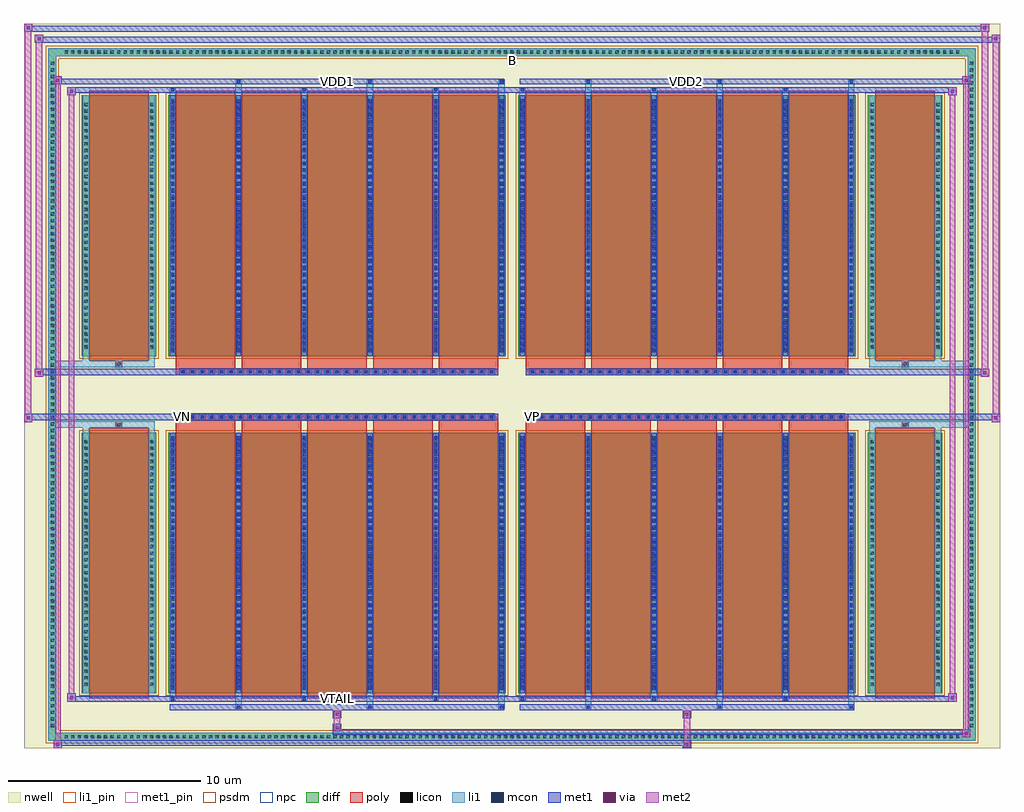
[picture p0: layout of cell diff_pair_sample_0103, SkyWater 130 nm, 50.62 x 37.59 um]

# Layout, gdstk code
import gdstk
lib = gdstk.Library(unit=1e-6, precision=5e-09)
def R(c, l, rs):  # rectangles x0, y0, x1, y1
    for r in rs: c.add(gdstk.rectangle(r[:2], r[2:], *l))
def A(c, l, x, y, w, h, nx, ny, dx, dy):  # array of equal rectangles
    R(c, l, [(x+i*dx, y+j*dy, x+i*dx+w, y+j*dy+h) for i in range(nx) for j in range(ny)])
def P(c, l, *ps):  # polygons
    for p in ps: c.add(gdstk.Polygon(p, *l))
nwell = (64, 20)
diff = (65, 20)
poly = (66, 20)
licon = (66, 44)
li1_pin = (67, 16)
li1 = (67, 20)
mcon = (67, 44)
met1_pin = (68, 16)
met1 = (68, 20)
via = (68, 44)
met2 = (69, 20)
psdm = (94, 20)
npc = (95, 20)

diff_pair_sample_0103 = lib.new_cell('diff_pair_sample_0103')
R(diff_pair_sample_0103, nwell, [(-25.31,-18.36,25.31,19.23), (-22.63,-16.55,-0.01,-0.805), (0.01,-16.55,22.63,-0.805), (-22.63,0.805,-0.01,16.55), (0.01,0.805,22.63,16.55)])
A(diff_pair_sample_0103, diff, -23.325, -17.96, 0.41, 0.41, 137, 2, 0.34, 35.51)
A(diff_pair_sample_0103, diff, -24.04, -17.375, 0.41, 0.41, 1, 102, 0, 0.34)
A(diff_pair_sample_0103, diff, 23.63, -17.375, 0.41, 0.41, 1, 102, 0, 0.34)
R(diff_pair_sample_0103, diff, [(-23.325,-17.96,23.325,-17.55), (-24.04,-17.375,-23.63,17.375), (23.63,-17.375,24.04,17.375), (-22.32,-15.505,-18.46,-1.985), (-17.82,-15.505,-0.32,-1.985), (0.32,-15.505,17.82,-1.985), (18.46,-15.505,22.32,-1.985), (-22.32,1.985,-18.46,15.505), (-17.82,1.985,-0.32,15.505), (0.32,1.985,17.82,15.505), (18.46,1.985,22.32,15.505), (-23.325,17.55,23.325,17.96)])
P(diff_pair_sample_0103, diff, [(24.04,17.96),(-24.04,17.96),(-24.04,-17.55),(-23.63,-17.55),(-23.63,17.55),(23.63,17.55),(23.63,-17.55),(-23.63,-17.55),(-24.04,-17.55),(-24.04,-17.96),(24.04,-17.96)])
A(diff_pair_sample_0103, poly, -17.43, -15.755, 3.08, 14.02, 5, 2, 3.41, 17.49)
A(diff_pair_sample_0103, poly, 0.71, -15.755, 3.08, 14.02, 5, 2, 3.41, 17.49)
A(diff_pair_sample_0103, poly, -17.43, -1.735, 3.08, 0.4, 5, 2, 3.41, 3.07)
A(diff_pair_sample_0103, poly, 0.71, -1.735, 3.08, 0.4, 5, 2, 3.41, 3.07)
A(diff_pair_sample_0103, poly, -17.235, -1.335, 0.33, 0.33, 33, 2, 0.5, 2.34)
A(diff_pair_sample_0103, poly, 0.905, -1.335, 0.33, 0.33, 33, 2, 0.5, 2.34)
R(diff_pair_sample_0103, poly, [(-21.93,-15.755,-18.85,-1.735), (18.85,-15.755,21.93,-1.735), (-20.555,-1.735,-20.225,-1.405), (-20.555,-1.735,-20.225,-1.405), (20.225,-1.735,20.555,-1.405), (20.225,-1.735,20.555,-1.405), (-17.43,-1.335,-0.71,-1.005), (0.71,-1.335,17.43,-1.005), (-17.43,1.005,-0.71,1.335), (0.71,1.005,17.43,1.335), (-20.555,1.405,-20.225,1.735), (-20.555,1.405,-20.225,1.735), (20.225,1.405,20.555,1.735), (20.225,1.405,20.555,1.735), (-21.93,1.735,-18.85,15.755), (18.85,1.735,21.93,15.755)])
A(diff_pair_sample_0103, licon, -23.205, -17.84, 0.17, 0.17, 137, 2, 0.34, 35.51)
A(diff_pair_sample_0103, licon, -23.92, -17.255, 0.17, 0.17, 1, 102, 0, 0.34)
A(diff_pair_sample_0103, licon, 23.75, -17.255, 0.17, 0.17, 1, 102, 0, 0.34)
A(diff_pair_sample_0103, licon, -22.18, -15.12, 0.17, 0.17, 1, 38, 0, 0.34)
A(diff_pair_sample_0103, licon, -18.77, -15.12, 0.17, 0.17, 1, 38, 0, 0.34)
A(diff_pair_sample_0103, licon, -17.68, -15.12, 0.17, 0.17, 6, 38, 3.41, 0.34)
A(diff_pair_sample_0103, licon, 0.46, -15.12, 0.17, 0.17, 6, 38, 3.41, 0.34)
A(diff_pair_sample_0103, licon, 18.6, -15.12, 0.17, 0.17, 1, 38, 0, 0.34)
A(diff_pair_sample_0103, licon, 22.01, -15.12, 0.17, 0.17, 1, 38, 0, 0.34)
A(diff_pair_sample_0103, licon, -17.155, -1.255, 0.17, 0.17, 33, 2, 0.5, 2.34)
A(diff_pair_sample_0103, licon, 0.985, -1.255, 0.17, 0.17, 33, 2, 0.5, 2.34)
A(diff_pair_sample_0103, licon, -22.18, 2.37, 0.17, 0.17, 1, 38, 0, 0.34)
A(diff_pair_sample_0103, licon, -18.77, 2.37, 0.17, 0.17, 1, 38, 0, 0.34)
A(diff_pair_sample_0103, licon, -17.68, 2.37, 0.17, 0.17, 6, 38, 3.41, 0.34)
A(diff_pair_sample_0103, licon, 0.46, 2.37, 0.17, 0.17, 6, 38, 3.41, 0.34)
A(diff_pair_sample_0103, licon, 18.6, 2.37, 0.17, 0.17, 1, 38, 0, 0.34)
A(diff_pair_sample_0103, licon, 22.01, 2.37, 0.17, 0.17, 1, 38, 0, 0.34)
R(diff_pair_sample_0103, licon, [(-20.475,-1.655,-20.305,-1.485), (20.305,-1.655,20.475,-1.485), (-20.475,1.485,-20.305,1.655), (20.305,1.485,20.475,1.655)])
R(diff_pair_sample_0103, li1_pin, [(-0.25,17.05,0.25,17.55)])
A(diff_pair_sample_0103, li1, -23.285, -17.92, 0.33, 0.33, 137, 2, 0.34, 35.51)
A(diff_pair_sample_0103, li1, -24, -17.335, 0.33, 0.33, 1, 102, 0, 0.34)
A(diff_pair_sample_0103, li1, 23.67, -17.335, 0.33, 0.33, 1, 102, 0, 0.34)
A(diff_pair_sample_0103, li1, -14.35, -16.31, 0.33, 0.805, 3, 2, 6.82, 31.815)
A(diff_pair_sample_0103, li1, -14.27, -16.31, 0.17, 0.17, 3, 2, 6.82, 32.45)
A(diff_pair_sample_0103, li1, 3.79, -16.31, 0.33, 0.805, 3, 2, 6.82, 31.815)
A(diff_pair_sample_0103, li1, 3.87, -16.31, 0.17, 0.17, 3, 2, 6.82, 32.45)
A(diff_pair_sample_0103, li1, -17.76, -15.88, 0.33, 0.375, 3, 2, 6.82, 31.385)
A(diff_pair_sample_0103, li1, -17.68, -15.88, 0.17, 0.17, 3, 2, 6.82, 31.59)
A(diff_pair_sample_0103, li1, 0.38, -15.88, 0.33, 0.375, 3, 2, 6.82, 31.385)
A(diff_pair_sample_0103, li1, 0.46, -15.88, 0.17, 0.17, 3, 2, 6.82, 31.59)
A(diff_pair_sample_0103, li1, -17.76, -15.505, 0.33, 13.52, 6, 2, 3.41, 17.49)
A(diff_pair_sample_0103, li1, 0.38, -15.505, 0.33, 13.52, 6, 2, 3.41, 17.49)
A(diff_pair_sample_0103, li1, -17.68, -15.31, 0.17, 0.17, 6, 37, 3.41, 0.36)
A(diff_pair_sample_0103, li1, -17.68, -15.31, 0.17, 13.13, 6, 2, 3.41, 17.49)
A(diff_pair_sample_0103, li1, 0.46, -15.31, 0.17, 0.17, 6, 37, 3.41, 0.36)
A(diff_pair_sample_0103, li1, 0.46, -15.31, 0.17, 13.13, 6, 2, 3.41, 17.49)
A(diff_pair_sample_0103, li1, -22.26, -15.2, 0.33, 0.33, 1, 38, 0, 0.34)
A(diff_pair_sample_0103, li1, -18.85, -15.2, 0.33, 0.33, 1, 38, 0, 0.34)
A(diff_pair_sample_0103, li1, -17.76, -15.2, 0.33, 0.33, 6, 38, 3.41, 0.34)
A(diff_pair_sample_0103, li1, 0.38, -15.2, 0.33, 0.33, 6, 38, 3.41, 0.34)
A(diff_pair_sample_0103, li1, 18.52, -15.2, 0.33, 0.33, 1, 38, 0, 0.34)
A(diff_pair_sample_0103, li1, 21.93, -15.2, 0.33, 0.33, 1, 38, 0, 0.34)
A(diff_pair_sample_0103, li1, -17.235, -1.335, 0.33, 0.33, 33, 2, 0.5, 2.34)
A(diff_pair_sample_0103, li1, 0.905, -1.335, 0.33, 0.33, 33, 2, 0.5, 2.34)
A(diff_pair_sample_0103, li1, -17.68, 2.18, 0.17, 0.17, 6, 37, 3.41, 0.36)
A(diff_pair_sample_0103, li1, 0.46, 2.18, 0.17, 0.17, 6, 37, 3.41, 0.36)
A(diff_pair_sample_0103, li1, -22.26, 2.29, 0.33, 0.33, 1, 38, 0, 0.34)
A(diff_pair_sample_0103, li1, -18.85, 2.29, 0.33, 0.33, 1, 38, 0, 0.34)
A(diff_pair_sample_0103, li1, -17.76, 2.29, 0.33, 0.33, 6, 38, 3.41, 0.34)
A(diff_pair_sample_0103, li1, 0.38, 2.29, 0.33, 0.33, 6, 38, 3.41, 0.34)
A(diff_pair_sample_0103, li1, 18.52, 2.29, 0.33, 0.33, 1, 38, 0, 0.34)
A(diff_pair_sample_0103, li1, 21.93, 2.29, 0.33, 0.33, 1, 38, 0, 0.34)
R(diff_pair_sample_0103, li1, [(-24.04,-17.96,-23.63,-17.55), (-24.04,-17.96,-23.63,-17.55), (-23.63,-17.96,23.63,-17.55), (23.63,-17.96,24.04,-17.55), (23.63,-17.96,24.04,-17.55), (-24.04,-17.55,-23.63,17.55), (23.63,-17.55,24.04,17.55), (-22.26,-15.505,-21.93,-1.985), (-18.85,-15.505,-18.52,-1.985), (18.52,-15.505,18.85,-1.985), (21.93,-15.505,22.26,-1.985), (-22.26,-1.985,-21.93,-1.405), (-18.85,-1.985,-18.52,-1.405), (18.52,-1.985,18.85,-1.405), (21.93,-1.985,22.26,-1.405), (-24.04,-1.735,-20.555,-1.405), (-22.26,-1.735,-20.555,-1.405), (-20.555,-1.735,-20.225,-1.405), (-20.225,-1.735,-18.52,-1.405), (18.52,-1.735,20.225,-1.405), (20.225,-1.735,20.555,-1.405), (20.225,-1.735,24.04,-1.405), (20.555,-1.735,22.26,-1.405), (-24.04,1.405,-20.555,1.735), (-22.26,1.405,-20.555,1.735), (-22.26,1.405,-21.93,1.985), (-20.555,1.405,-20.225,1.735), (-20.225,1.405,-18.52,1.735), (-18.85,1.405,-18.52,1.985), (18.52,1.405,20.225,1.735), (18.52,1.405,18.85,1.985), (20.225,1.405,20.555,1.735), (20.225,1.405,24.04,1.735), (20.555,1.405,22.26,1.735), (21.93,1.405,22.26,1.985), (-22.26,1.985,-21.93,15.505), (-18.85,1.985,-18.52,15.505), (18.52,1.985,18.85,15.505), (21.93,1.985,22.26,15.505), (-24.04,17.55,-23.63,17.96), (-24.04,17.55,-23.63,17.96), (-23.63,17.55,23.63,17.96), (23.63,17.55,24.04,17.96), (23.63,17.55,24.04,17.96)])
A(diff_pair_sample_0103, mcon, -14.27, -16.31, 0.17, 0.17, 3, 2, 6.82, 32.45)
A(diff_pair_sample_0103, mcon, 3.87, -16.31, 0.17, 0.17, 3, 2, 6.82, 32.45)
A(diff_pair_sample_0103, mcon, -17.68, -15.88, 0.17, 0.17, 3, 2, 6.82, 31.59)
A(diff_pair_sample_0103, mcon, 0.46, -15.88, 0.17, 0.17, 3, 2, 6.82, 31.59)
A(diff_pair_sample_0103, mcon, -17.68, -15.31, 0.17, 0.17, 6, 37, 3.41, 0.36)
A(diff_pair_sample_0103, mcon, 0.46, -15.31, 0.17, 0.17, 6, 37, 3.41, 0.36)
A(diff_pair_sample_0103, mcon, -17.155, -1.255, 0.17, 0.17, 33, 2, 0.5, 2.34)
A(diff_pair_sample_0103, mcon, 0.985, -1.255, 0.17, 0.17, 33, 2, 0.5, 2.34)
A(diff_pair_sample_0103, mcon, -17.68, 2.18, 0.17, 0.17, 6, 37, 3.41, 0.36)
A(diff_pair_sample_0103, mcon, 0.46, 2.18, 0.17, 0.17, 6, 37, 3.41, 0.36)
R(diff_pair_sample_0103, met1_pin, [(-9.205,-15.92,-8.935,-15.65), (-17.205,-1.295,-16.935,-1.025), (0.935,-1.295,1.205,-1.025), (-9.205,16.1,-8.935,16.37), (8.935,16.1,9.205,16.37)])
A(diff_pair_sample_0103, met1, -14.33, -16.37, 0.29, 0.29, 3, 2, 6.82, 32.45)
A(diff_pair_sample_0103, met1, 3.81, -16.37, 0.29, 0.29, 3, 2, 6.82, 32.45)
A(diff_pair_sample_0103, met1, -17.74, -15.94, 0.29, 0.29, 3, 2, 6.82, 31.59)
A(diff_pair_sample_0103, met1, 0.4, -15.94, 0.29, 0.29, 3, 2, 6.82, 31.59)
A(diff_pair_sample_0103, met1, -17.74, -15.505, 0.29, 13.52, 6, 2, 3.41, 17.49)
A(diff_pair_sample_0103, met1, 0.4, -15.505, 0.29, 13.52, 6, 2, 3.41, 17.49)
A(diff_pair_sample_0103, met1, -17.74, -15.37, 0.29, 0.29, 6, 37, 3.41, 0.36)
A(diff_pair_sample_0103, met1, 0.4, -15.37, 0.29, 0.29, 6, 37, 3.41, 0.36)
A(diff_pair_sample_0103, met1, -17.215, -1.315, 0.29, 0.29, 33, 2, 0.5, 2.34)
A(diff_pair_sample_0103, met1, 0.925, -1.315, 0.29, 0.29, 33, 2, 0.5, 2.34)
A(diff_pair_sample_0103, met1, -17.74, 2.12, 0.29, 0.29, 6, 37, 3.41, 0.36)
A(diff_pair_sample_0103, met1, 0.4, 2.12, 0.29, 0.29, 6, 37, 3.41, 0.36)
R(diff_pair_sample_0103, met1, [(-23.77,-18.36,-23.34,-17.93), (8.855,-18.36,9.285,-17.93), (-23.77,-18.22,9.285,-17.93), (23.34,-17.79,23.77,-17.36), (-9.285,-17.65,23.77,-17.36), (-9.285,-17.51,-8.855,-17.08), (-9.285,-16.8,-8.855,-16.37), (8.855,-16.8,9.285,-16.37), (-17.74,-16.37,-0.4,-16.08), (0.4,-16.37,17.74,-16.08), (-23.06,-15.94,-22.63,-15.51), (-23.06,-15.94,-17.74,-15.65), (-17.74,-15.94,-0.4,-15.65), (-0.4,-15.94,0.4,-15.65), (0.4,-15.94,17.74,-15.65), (17.74,-15.94,23.06,-15.65), (22.63,-15.94,23.06,-15.51), (-25.31,-1.435,-24.88,-1.005), (24.88,-1.435,25.31,-1.005), (-25.31,-1.335,-0.71,-1.005), (-17.43,-1.335,-0.71,-1.005), (0.71,-1.335,17.43,-1.005), (0.71,-1.335,25.31,-1.005), (-24.74,0.905,-24.31,1.335), (24.31,0.905,24.74,1.335), (-24.74,1.005,-17.43,1.335), (-17.43,1.005,-0.71,1.335), (0.71,1.005,17.43,1.335), (17.43,1.005,24.74,1.335), (-23.06,15.51,-22.63,15.94), (22.63,15.51,23.06,15.94), (-23.06,15.65,-17.74,15.94), (-17.74,15.65,-0.4,15.94), (-0.4,15.65,0.4,15.94), (0.4,15.65,17.74,15.94), (17.74,15.65,23.06,15.94), (-23.77,16.08,-23.34,16.51), (-23.77,16.08,-17.74,16.37), (-17.74,16.08,-0.4,16.37), (0.4,16.08,17.74,16.37), (17.74,16.08,23.77,16.37), (23.34,16.08,23.77,16.51), (-24.74,18.23,-24.31,18.66), (-24.74,18.23,-22.63,18.56), (-22.63,18.23,22.63,18.56), (22.63,18.23,25.31,18.56), (24.88,18.23,25.31,18.66), (-25.31,18.8,-24.88,19.23), (-25.31,18.8,-22.63,19.13), (-22.63,18.8,22.63,19.13), (22.63,18.8,24.74,19.13), (24.31,18.8,24.74,19.23)])
R(diff_pair_sample_0103, via, [(-23.63,-18.22,-23.48,-18.07), (8.995,-18.22,9.145,-18.07), (23.48,-17.65,23.63,-17.5), (-9.145,-17.37,-8.995,-17.22), (-9.145,-16.66,-8.995,-16.51), (8.995,-16.66,9.145,-16.51), (-22.92,-15.8,-22.77,-15.65), (22.77,-15.8,22.92,-15.65), (-25.17,-1.295,-25.02,-1.145), (25.02,-1.295,25.17,-1.145), (-24.6,1.045,-24.45,1.195), (24.45,1.045,24.6,1.195), (-22.92,15.65,-22.77,15.8), (22.77,15.65,22.92,15.8), (-23.63,16.22,-23.48,16.37), (23.48,16.22,23.63,16.37), (-24.6,18.37,-24.45,18.52), (25.02,18.37,25.17,18.52), (-25.17,18.94,-25.02,19.09), (24.45,18.94,24.6,19.09)])
R(diff_pair_sample_0103, met2, [(-23.77,-18.36,-23.34,-17.93), (-23.7,-18.36,-23.41,16.51), (-23.41,-18.36,-23.34,-17.93), (-23.72,-18.31,-23.39,-17.98), (8.905,-18.31,9.235,-17.98), (8.905,-17.98,9.235,-16.75), (23.34,-17.79,23.77,-17.36), (23.41,-17.79,23.7,16.51), (23.7,-17.79,23.77,-17.36), (23.39,-17.74,23.72,-17.41), (-9.235,-17.46,-8.905,-17.13), (-9.235,-17.13,-8.905,-16.75), (-9.235,-16.75,-8.905,-16.42), (8.905,-16.75,9.235,-16.42), (-23.06,-15.94,-22.63,-15.51), (-22.99,-15.94,-22.7,15.94), (-22.7,-15.94,-22.63,-15.51), (22.63,-15.94,23.06,-15.51), (22.7,-15.94,22.99,15.94), (22.99,-15.94,23.06,-15.51), (-23.01,-15.89,-22.68,-15.56), (22.68,-15.89,23.01,-15.56), (-25.31,-1.435,-24.88,-1.005), (-25.26,-1.435,-24.93,19.23), (-24.93,-1.435,-24.88,-1.005), (24.88,-1.435,25.31,-1.005), (24.93,-1.435,25.26,18.66), (25.26,-1.435,25.31,-1.005), (-25.26,-1.385,-24.93,-1.055), (24.93,-1.385,25.26,-1.055), (-24.74,0.905,-24.31,1.335), (-24.69,0.905,-24.36,18.66), (-24.36,0.905,-24.31,1.335), (24.31,0.905,24.74,1.335), (24.36,0.905,24.69,19.23), (24.69,0.905,24.74,1.335), (-24.69,0.955,-24.36,1.285), (24.36,0.955,24.69,1.285), (-23.06,15.51,-22.63,15.94), (-22.7,15.51,-22.63,15.94), (22.63,15.51,23.06,15.94), (22.99,15.51,23.06,15.94), (-23.01,15.56,-22.68,15.89), (22.68,15.56,23.01,15.89), (-23.77,16.08,-23.34,16.51), (-23.41,16.08,-23.34,16.51), (23.34,16.08,23.77,16.51), (23.7,16.08,23.77,16.51), (-23.72,16.13,-23.39,16.46), (23.39,16.13,23.72,16.46), (-24.74,18.23,-24.31,18.66), (-24.36,18.23,-24.31,18.66), (24.88,18.23,25.31,18.66), (25.26,18.23,25.31,18.66), (-24.69,18.28,-24.36,18.61), (24.93,18.28,25.26,18.61), (-25.31,18.8,-24.88,19.23), (-24.93,18.8,-24.88,19.23), (24.31,18.8,24.74,19.23), (24.69,18.8,24.74,19.23), (-25.26,18.85,-24.93,19.18), (24.36,18.85,24.69,19.18)])
R(diff_pair_sample_0103, psdm, [(-22.45,-15.635,-18.33,-1.855), (-17.95,-15.635,-0.19,-1.855), (0.19,-15.635,17.95,-1.855), (18.33,-15.635,22.45,-1.855), (-22.45,1.855,-18.33,15.635), (-17.95,1.855,-0.19,15.635), (0.19,1.855,17.95,15.635), (18.33,1.855,22.45,15.635)])
P(diff_pair_sample_0103, psdm, [(24.17,18.09),(-24.17,18.09),(-24.17,-17.42),(-23.5,-17.42),(-23.5,17.42),(23.5,17.42),(23.5,-17.42),(-23.5,-17.42),(-24.17,-17.42),(-24.17,-18.09),(24.17,-18.09)])
A(diff_pair_sample_0103, npc, -17.255, -1.355, 0.37, 0.37, 33, 2, 0.5, 2.34)
A(diff_pair_sample_0103, npc, 0.885, -1.355, 0.37, 0.37, 33, 2, 0.5, 2.34)
R(diff_pair_sample_0103, npc, [(-20.575,-1.755,-20.205,-1.385), (20.205,-1.755,20.575,-1.385), (-17.255,-1.355,-16.385,-0.985), (-17.255,-1.355,-16.385,-0.985), (-16.755,-1.355,-15.885,-0.985), (-16.755,-1.355,-15.885,-0.985), (-16.255,-1.355,-15.385,-0.985), (-16.255,-1.355,-15.385,-0.985), (-15.755,-1.355,-14.885,-0.985), (-15.755,-1.355,-14.885,-0.985), (-15.255,-1.355,-14.385,-0.985), (-15.255,-1.355,-14.385,-0.985), (-14.755,-1.355,-13.885,-0.985), (-14.755,-1.355,-13.885,-0.985), (-14.255,-1.355,-13.385,-0.985), (-14.255,-1.355,-13.385,-0.985), (-13.755,-1.355,-12.885,-0.985), (-13.755,-1.355,-12.885,-0.985), (-13.255,-1.355,-12.385,-0.985), (-13.255,-1.355,-12.385,-0.985), (-12.755,-1.355,-11.885,-0.985), (-12.755,-1.355,-11.885,-0.985), (-12.255,-1.355,-11.385,-0.985), (-12.255,-1.355,-11.385,-0.985), (-11.755,-1.355,-10.885,-0.985), (-11.755,-1.355,-10.885,-0.985), (-11.255,-1.355,-10.385,-0.985), (-11.255,-1.355,-10.385,-0.985), (-10.755,-1.355,-9.885,-0.985), (-10.755,-1.355,-9.885,-0.985), (-10.255,-1.355,-9.385,-0.985), (-10.255,-1.355,-9.385,-0.985), (-9.755,-1.355,-8.885,-0.985), (-9.755,-1.355,-8.885,-0.985), (-9.255,-1.355,-8.385,-0.985), (-9.255,-1.355,-8.385,-0.985), (-8.755,-1.355,-7.885,-0.985), (-8.755,-1.355,-7.885,-0.985), (-8.255,-1.355,-7.385,-0.985), (-8.255,-1.355,-7.385,-0.985), (-7.755,-1.355,-6.885,-0.985), (-7.755,-1.355,-6.885,-0.985), (-7.255,-1.355,-6.385,-0.985), (-7.255,-1.355,-6.385,-0.985), (-6.755,-1.355,-5.885,-0.985), (-6.755,-1.355,-5.885,-0.985), (-6.255,-1.355,-5.385,-0.985), (-6.255,-1.355,-5.385,-0.985), (-5.755,-1.355,-4.885,-0.985), (-5.755,-1.355,-4.885,-0.985), (-5.255,-1.355,-4.385,-0.985), (-5.255,-1.355,-4.385,-0.985), (-4.755,-1.355,-3.885,-0.985), (-4.755,-1.355,-3.885,-0.985), (-4.255,-1.355,-3.385,-0.985), (-4.255,-1.355,-3.385,-0.985), (-3.755,-1.355,-2.885,-0.985), (-3.755,-1.355,-2.885,-0.985), (-3.255,-1.355,-2.385,-0.985), (-3.255,-1.355,-2.385,-0.985), (-2.755,-1.355,-1.885,-0.985), (-2.755,-1.355,-1.885,-0.985), (-2.255,-1.355,-1.385,-0.985), (-2.255,-1.355,-1.385,-0.985), (-1.755,-1.355,-0.885,-0.985), (-1.755,-1.355,-0.885,-0.985), (0.885,-1.355,1.755,-0.985), (0.885,-1.355,1.755,-0.985), (1.385,-1.355,2.255,-0.985), (1.385,-1.355,2.255,-0.985), (1.885,-1.355,2.755,-0.985), (1.885,-1.355,2.755,-0.985), (2.385,-1.355,3.255,-0.985), (2.385,-1.355,3.255,-0.985), (2.885,-1.355,3.755,-0.985), (2.885,-1.355,3.755,-0.985), (3.385,-1.355,4.255,-0.985), (3.385,-1.355,4.255,-0.985), (3.885,-1.355,4.755,-0.985), (3.885,-1.355,4.755,-0.985), (4.385,-1.355,5.255,-0.985), (4.385,-1.355,5.255,-0.985), (4.885,-1.355,5.755,-0.985), (4.885,-1.355,5.755,-0.985), (5.385,-1.355,6.255,-0.985), (5.385,-1.355,6.255,-0.985), (5.885,-1.355,6.755,-0.985), (5.885,-1.355,6.755,-0.985), (6.385,-1.355,7.255,-0.985), (6.385,-1.355,7.255,-0.985), (6.885,-1.355,7.755,-0.985), (6.885,-1.355,7.755,-0.985), (7.385,-1.355,8.255,-0.985), (7.385,-1.355,8.255,-0.985), (7.885,-1.355,8.755,-0.985), (7.885,-1.355,8.755,-0.985), (8.385,-1.355,9.255,-0.985), (8.385,-1.355,9.255,-0.985), (8.885,-1.355,9.755,-0.985), (8.885,-1.355,9.755,-0.985), (9.385,-1.355,10.255,-0.985), (9.385,-1.355,10.255,-0.985), (9.885,-1.355,10.755,-0.985), (9.885,-1.355,10.755,-0.985), (10.385,-1.355,11.255,-0.985), (10.385,-1.355,11.255,-0.985), (10.885,-1.355,11.755,-0.985), (10.885,-1.355,11.755,-0.985), (11.385,-1.355,12.255,-0.985), (11.385,-1.355,12.255,-0.985), (11.885,-1.355,12.755,-0.985), (11.885,-1.355,12.755,-0.985), (12.385,-1.355,13.255,-0.985), (12.385,-1.355,13.255,-0.985), (12.885,-1.355,13.755,-0.985), (12.885,-1.355,13.755,-0.985), (13.385,-1.355,14.255,-0.985), (13.385,-1.355,14.255,-0.985), (13.885,-1.355,14.755,-0.985), (13.885,-1.355,14.755,-0.985), (14.385,-1.355,15.255,-0.985), (14.385,-1.355,15.255,-0.985), (14.885,-1.355,15.755,-0.985), (14.885,-1.355,15.755,-0.985), (15.385,-1.355,16.255,-0.985), (15.385,-1.355,16.255,-0.985), (15.885,-1.355,16.755,-0.985), (15.885,-1.355,16.755,-0.985), (16.385,-1.355,17.255,-0.985), (16.385,-1.355,17.255,-0.985), (-17.255,0.985,-16.385,1.355), (-17.255,0.985,-16.385,1.355), (-16.755,0.985,-15.885,1.355), (-16.755,0.985,-15.885,1.355), (-16.255,0.985,-15.385,1.355), (-16.255,0.985,-15.385,1.355), (-15.755,0.985,-14.885,1.355), (-15.755,0.985,-14.885,1.355), (-15.255,0.985,-14.385,1.355), (-15.255,0.985,-14.385,1.355), (-14.755,0.985,-13.885,1.355), (-14.755,0.985,-13.885,1.355), (-14.255,0.985,-13.385,1.355), (-14.255,0.985,-13.385,1.355), (-13.755,0.985,-12.885,1.355), (-13.755,0.985,-12.885,1.355), (-13.255,0.985,-12.385,1.355), (-13.255,0.985,-12.385,1.355), (-12.755,0.985,-11.885,1.355), (-12.755,0.985,-11.885,1.355), (-12.255,0.985,-11.385,1.355), (-12.255,0.985,-11.385,1.355), (-11.755,0.985,-10.885,1.355), (-11.755,0.985,-10.885,1.355), (-11.255,0.985,-10.385,1.355), (-11.255,0.985,-10.385,1.355), (-10.755,0.985,-9.885,1.355), (-10.755,0.985,-9.885,1.355), (-10.255,0.985,-9.385,1.355), (-10.255,0.985,-9.385,1.355), (-9.755,0.985,-8.885,1.355), (-9.755,0.985,-8.885,1.355), (-9.255,0.985,-8.385,1.355), (-9.255,0.985,-8.385,1.355), (-8.755,0.985,-7.885,1.355), (-8.755,0.985,-7.885,1.355), (-8.255,0.985,-7.385,1.355), (-8.255,0.985,-7.385,1.355), (-7.755,0.985,-6.885,1.355), (-7.755,0.985,-6.885,1.355), (-7.255,0.985,-6.385,1.355), (-7.255,0.985,-6.385,1.355), (-6.755,0.985,-5.885,1.355), (-6.755,0.985,-5.885,1.355), (-6.255,0.985,-5.385,1.355), (-6.255,0.985,-5.385,1.355), (-5.755,0.985,-4.885,1.355), (-5.755,0.985,-4.885,1.355), (-5.255,0.985,-4.385,1.355), (-5.255,0.985,-4.385,1.355), (-4.755,0.985,-3.885,1.355), (-4.755,0.985,-3.885,1.355), (-4.255,0.985,-3.385,1.355), (-4.255,0.985,-3.385,1.355), (-3.755,0.985,-2.885,1.355), (-3.755,0.985,-2.885,1.355), (-3.255,0.985,-2.385,1.355), (-3.255,0.985,-2.385,1.355), (-2.755,0.985,-1.885,1.355), (-2.755,0.985,-1.885,1.355), (-2.255,0.985,-1.385,1.355), (-2.255,0.985,-1.385,1.355), (-1.755,0.985,-0.885,1.355), (-1.755,0.985,-0.885,1.355), (0.885,0.985,1.755,1.355), (0.885,0.985,1.755,1.355), (1.385,0.985,2.255,1.355), (1.385,0.985,2.255,1.355), (1.885,0.985,2.755,1.355), (1.885,0.985,2.755,1.355), (2.385,0.985,3.255,1.355), (2.385,0.985,3.255,1.355), (2.885,0.985,3.755,1.355), (2.885,0.985,3.755,1.355), (3.385,0.985,4.255,1.355), (3.385,0.985,4.255,1.355), (3.885,0.985,4.755,1.355), (3.885,0.985,4.755,1.355), (4.385,0.985,5.255,1.355), (4.385,0.985,5.255,1.355), (4.885,0.985,5.755,1.355), (4.885,0.985,5.755,1.355), (5.385,0.985,6.255,1.355), (5.385,0.985,6.255,1.355), (5.885,0.985,6.755,1.355), (5.885,0.985,6.755,1.355), (6.385,0.985,7.255,1.355), (6.385,0.985,7.255,1.355), (6.885,0.985,7.755,1.355), (6.885,0.985,7.755,1.355), (7.385,0.985,8.255,1.355), (7.385,0.985,8.255,1.355), (7.885,0.985,8.755,1.355), (7.885,0.985,8.755,1.355), (8.385,0.985,9.255,1.355), (8.385,0.985,9.255,1.355), (8.885,0.985,9.755,1.355), (8.885,0.985,9.755,1.355), (9.385,0.985,10.255,1.355), (9.385,0.985,10.255,1.355), (9.885,0.985,10.755,1.355), (9.885,0.985,10.755,1.355), (10.385,0.985,11.255,1.355), (10.385,0.985,11.255,1.355), (10.885,0.985,11.755,1.355), (10.885,0.985,11.755,1.355), (11.385,0.985,12.255,1.355), (11.385,0.985,12.255,1.355), (11.885,0.985,12.755,1.355), (11.885,0.985,12.755,1.355), (12.385,0.985,13.255,1.355), (12.385,0.985,13.255,1.355), (12.885,0.985,13.755,1.355), (12.885,0.985,13.755,1.355), (13.385,0.985,14.255,1.355), (13.385,0.985,14.255,1.355), (13.885,0.985,14.755,1.355), (13.885,0.985,14.755,1.355), (14.385,0.985,15.255,1.355), (14.385,0.985,15.255,1.355), (14.885,0.985,15.755,1.355), (14.885,0.985,15.755,1.355), (15.385,0.985,16.255,1.355), (15.385,0.985,16.255,1.355), (15.885,0.985,16.755,1.355), (15.885,0.985,16.755,1.355), (16.385,0.985,17.255,1.355), (16.385,0.985,17.255,1.355), (-20.575,1.385,-20.205,1.755), (20.205,1.385,20.575,1.755)])
diff_pair_sample_0103.add(gdstk.Label('VTAIL', (-9.07,-15.785), layer=68, texttype=5))
diff_pair_sample_0103.add(gdstk.Label('VN', (-17.07,-1.16), layer=68, texttype=5))
diff_pair_sample_0103.add(gdstk.Label('VP', (1.07,-1.16), layer=68, texttype=5))
diff_pair_sample_0103.add(gdstk.Label('B', (0,17.3), layer=67, texttype=5))
diff_pair_sample_0103.add(gdstk.Label('VDD2', (9.07,16.235), layer=68, texttype=5))
diff_pair_sample_0103.add(gdstk.Label('VDD1', (-9.07,16.235), layer=68, texttype=5))

lib.write_gds('diff_pair_sample_0103.gds')
